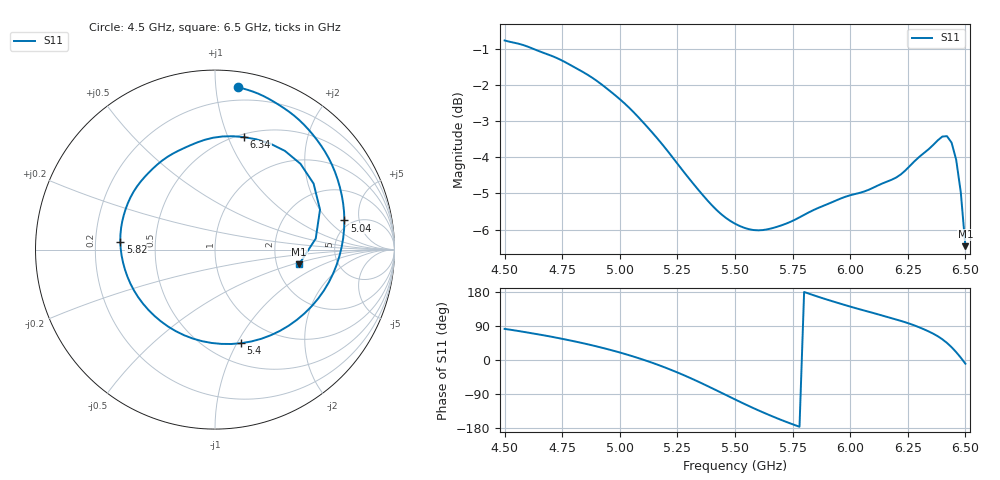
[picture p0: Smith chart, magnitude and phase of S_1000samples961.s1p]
! TOUCHSTONE file generated by CST MICROWAVE STUDIO
! Date and time: Sat Oct 29 22:32:36 2022
! Project name: L.cst
! Parameters = {Di=1.27; Epsilon_r=1.56; InnerDiameter=1.27; Length=2; Lf=10; Lg=60; OuterConductorThickness=0.2921; OuterDiameter=3.6; Wf=3; Wp=41.2; de=1.5; df=6.8; g=0.8; gx=4.72538; gy=2.04695; h=2.34; hf=1.524; px=13.8556; py=12.6943; w=9.7; wx=9.13021; wy=10.6473}
! Header version: 2018
! Port assignment regex: !\s*Touchstone port\s*([0-9]+)\s*=\s*(CST MWS port|CST DS port)\s*([0-9]+|Zmin|Zmax)\s*\(\"(.*)\"\)(\s*mode\s*([0-9]+))?.*
! Touchstone port assignment:
! Touchstone port 1 = CST MWS port 1 ("")
# GHz S DB R 50
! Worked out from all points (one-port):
!   101 points, 4.5 GHz to 6.5 GHz, reference 50 ohm
!   lowest |S11| = -6.5 dB at 6.5 GHz (marker M1), VSWR 2.81, Z = 134 - j28.1 ohm
!   |S11| at or under -10 dB: nowhere
!   S11 on the Smith chart (normalised r, x): 4.5 GHz: 0.10, +1.14; 5.04 GHz: 4.35, +3.11; 5.4 GHz: 0.71, -1.04; 5.82 GHz: 0.31, +0.04; 6.34 GHz: 0.53, +1.14; 6.5 GHz: 2.68, -0.56
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4.5  -0.77 82.1
4.62  -0.99 70.4
4.76  -1.36 54.6
4.88  -1.80 38.7
5  -2.40 19.8
5.04  -2.63 12.7
5.1  -3.03 1.1
5.16  -3.46 -11.5
5.26  -4.26 -35.5
5.34  -4.89 -57.0
5.4  -5.33 -74.4
5.5  -5.83 -104.0
5.58  -6.01 -127.0
5.64  -5.99 -143.0
5.76  -5.73 -171.8
5.82  -5.52 175.3
5.9  -5.30 159.3
6  -5.05 141.0
6.14  -4.72 117.2
6.26  -4.23 95.4
6.34  -3.78 75.6
6.38  -3.53 62.8
6.4  -3.43 54.7
6.42  -3.42 45.1
6.44  -3.59 33.8
6.46  -4.07 20.8
6.48  -4.97 6.2
6.5  -6.46 -9.8
